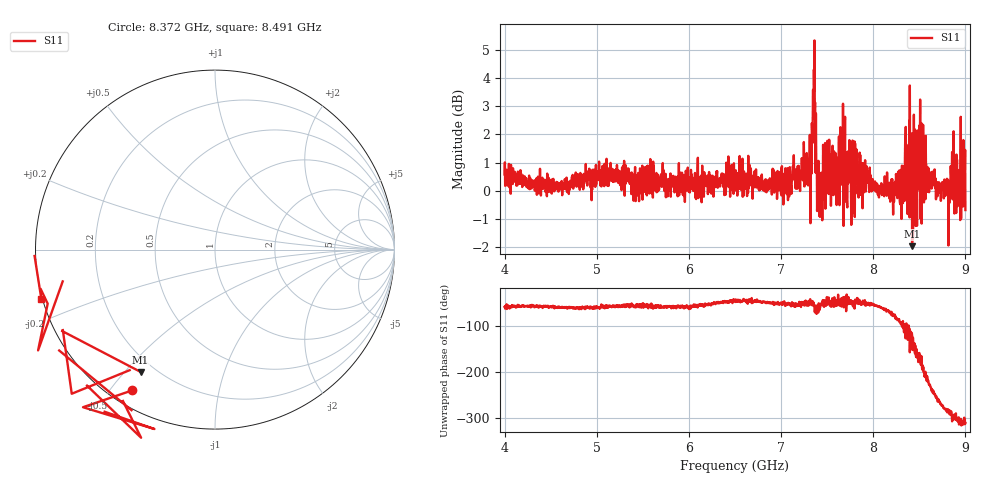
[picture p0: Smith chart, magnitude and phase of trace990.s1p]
! Created with skrf 1.8.0 (http://scikit-rf.org).
# Hz S RI R 50.0
!freq ReS11 ImS11
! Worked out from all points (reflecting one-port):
!   1601 points, 4 GHz to 9 GHz, reference 50 ohm
!   lowest |S11| = -2.0 dB at 8.422 GHz (marker M1), VSWR 8.88, Z = 7.38 - j27.6 ohm
!   phase of S11 starts at -58 deg and turns -252 deg over the sweep
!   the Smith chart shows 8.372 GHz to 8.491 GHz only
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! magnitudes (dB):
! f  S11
! 4 GHz  0.6
! 4.625 GHz  -0.2
! 5.25 GHz  0.4
! 5.875 GHz  0.3
! 6.5 GHz  0.4
! 7.038 GHz  0.3
! 7.125 GHz  0.7
! 7.306 GHz  1.0
! 7.347 GHz  3.6
! 7.359 GHz  3.5
! 7.381 GHz  1.2
! 7.397 GHz  -0.3
! 7.428 GHz  0.5
! 7.509 GHz  0.2
! 7.609 GHz  0.6
! 7.669 GHz  2.0
! 7.703 GHz  1.4
! 7.75 GHz  0.6
! 8.281 GHz  0.2
! 8.316 GHz  0.5
! 8.375 GHz  1.2
! 8.422 GHz  -2.0
! 8.447 GHz  2.2
! 8.519 GHz  1.6
! 8.603 GHz  0.8
! 8.806 GHz  0.3
! 8.972 GHz  0.4
! 9 GHz  -0.7
